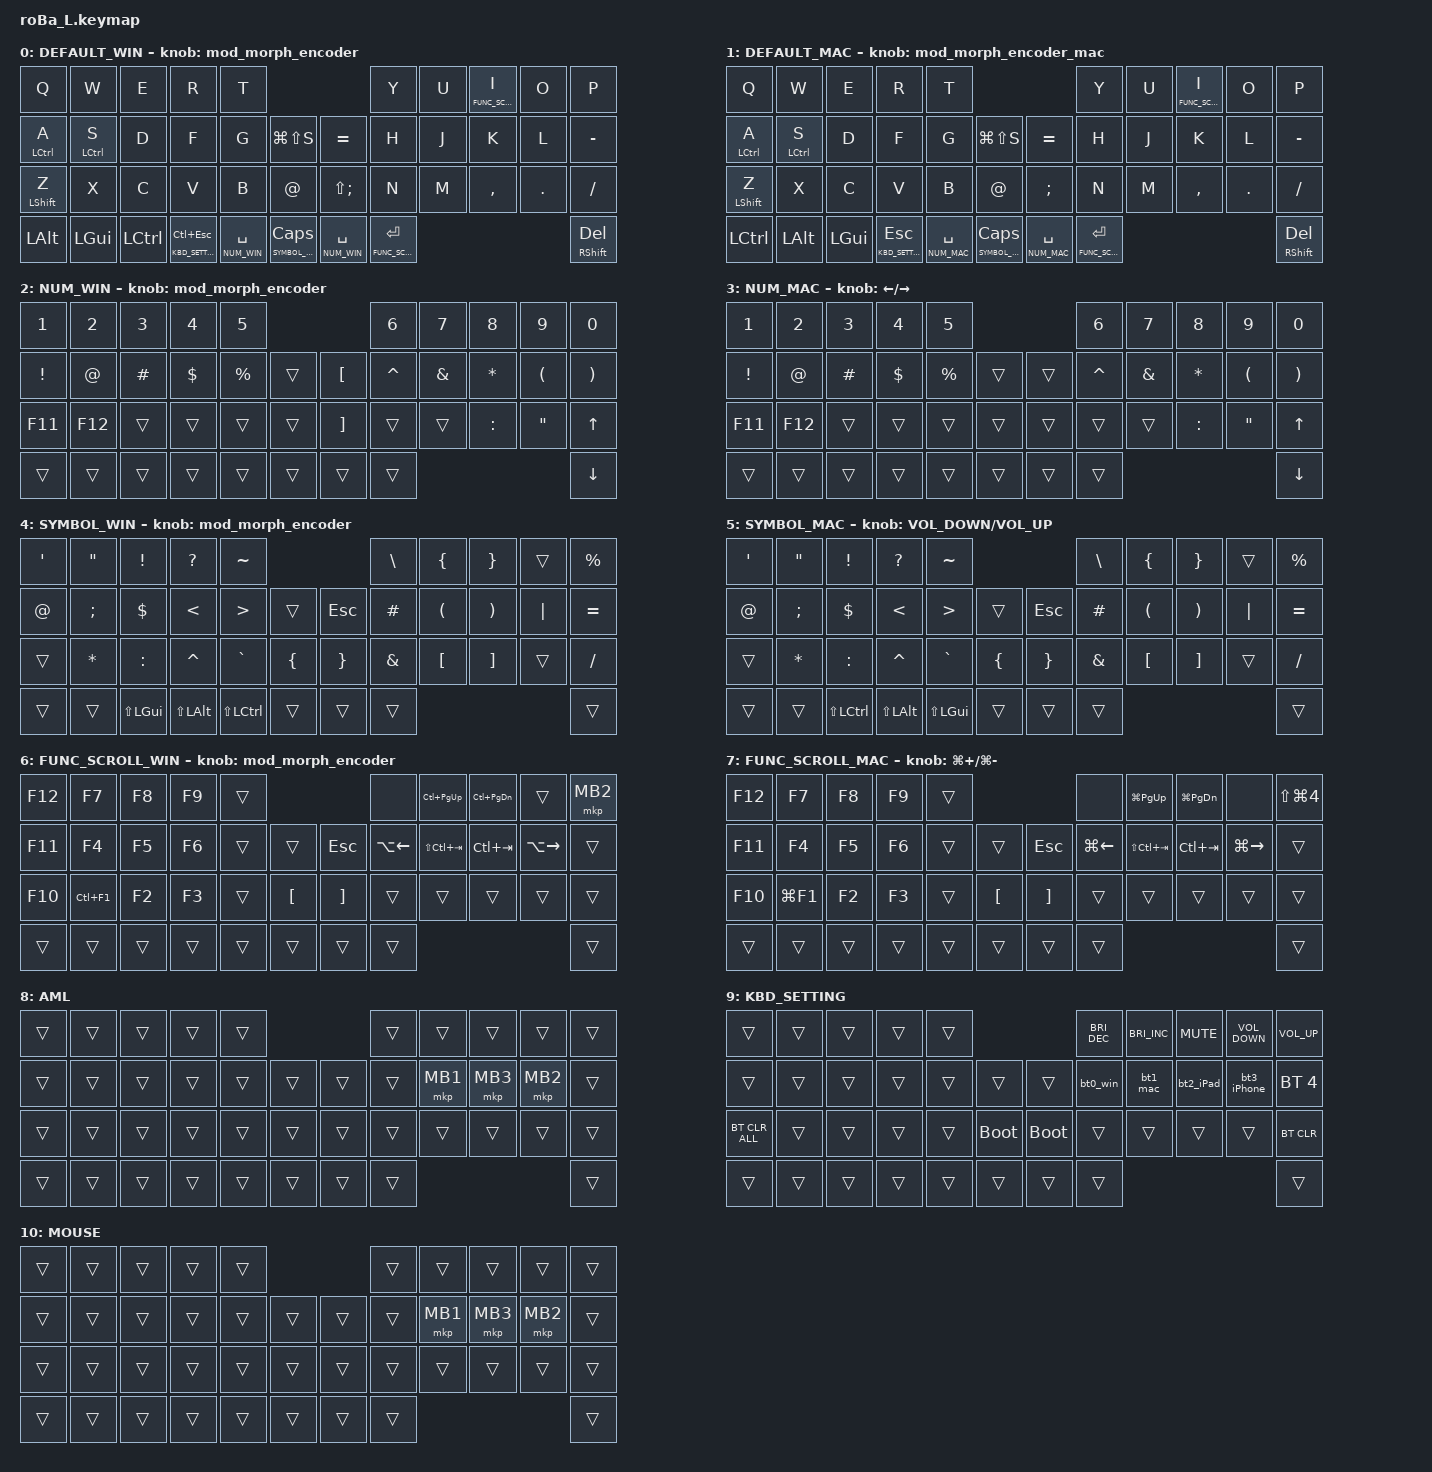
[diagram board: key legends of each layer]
// =============================================================================
// ZMK KEYMAP CONFIGURATION FOR roBa_L KEYBOARD
// =============================================================================
// This keymap provides a comprehensive layout with platform-specific
// adaptations for Windows and Mac, advanced encoder behaviors, and
// Bluetooth device management.
// =============================================================================

#include <behaviors.dtsi>
#include <dt-bindings/zmk/bt.h>
#include <dt-bindings/zmk/keys.h>
#include <dt-bindings/zmk/pointing.h>

// =============================================================================
// LAYER DEFINITIONS
// =============================================================================

#define DEFAULT_WIN     0  // Base layer for Windows
#define DEFAULT_MAC     1  // Base layer for Mac
#define NUM_WIN         2  // Numbers and symbols for Windows
#define NUM_MAC         3  // Numbers and symbols for Mac
#define SYMBOL_WIN      4  // Extended symbols for Windows
#define SYMBOL_MAC      5  // Extended symbols for Mac
#define FUNC_SCROLL_WIN 6  // Function keys and scrolling for Windows
#define FUNC_SCROLL_MAC 7  // Function keys and scrolling for Mac
#define AML             8  // Advanced Mouse Layer
#define KBD_SETTING     9  // Keyboard settings and Bluetooth
#define MOUSE          10  // Mouse functionality

// =============================================================================
// POINTING DEVICE CONFIGURATION
// =============================================================================
// Rotary encoder scroll value

#define ZMK_POINTING_DEFAULT_SCRL_VAL 80

// =============================================================================
// MOUSE MOVEMENT CONFIGURATION
// =============================================================================
// Controls mouse cursor movement behavior

&mmv {
    delay-ms = <20>;              // Initial delay before movement starts
    trigger-period-ms = <5>;       // Time between movement triggers
    time-to-max-speed-ms = <200>; // Time to reach maximum speed
};

// =============================================================================
// MOUSE SCROLL CONFIGURATION
// =============================================================================
// Controls mouse scroll wheel behavior

&msc {
    delay-ms = <3>;               // Initial delay before scroll starts
    trigger-period-ms = <3>;      // Time between scroll triggers
    time-to-max-speed-ms = <200>; // Time to reach maximum scroll speed
};

// =============================================================================
// GLOBAL BEHAVIOR CONFIGURATION
// =============================================================================
// Mod-tap behavior settings

&mt {
    flavor = "balanced";
    tapping-term-ms = <180>;
    quick-tap-ms = <180>;
    hold-while-undecided;
};

// Layer-tap behavior settings

&lt {
    flavor = "balanced";
    tapping-term-ms = <180>;
    quick-tap-ms = <180>;
    hold-while-undecided;
};

/ {
    // =============================================================================
    // KEY COMBINATIONS (COMBOS)
    // =============================================================================
    // These define simultaneous key presses that trigger different actions

    combos {
        compatible = "zmk,combos";

        // Navigation combos

        tab {
            bindings = <&kp TAB>;
            key-positions = <11 10>;
        };

        enter_combo {
            bindings = <&kp ENTER>;
            key-positions = <20 21>;
        };

        // Punctuation combos

        equals {
            bindings = <&kp EQUAL>;
            key-positions = <8 7>;
        };

        escape {
            bindings = <&kp ESCAPE>;
            key-positions = <1 0>;
        };

        // Letter combos

        shift_z {
            bindings = <&kp LS(Z)>;
            key-positions = <22 23>;
        };

        question_mark {
            bindings = <&kp RS(SLASH)>;
            key-positions = <33 32>;
        };

        bs {
            bindings = <&kp BSPC>;
            key-positions = <9 8>;
        };
    };

    // =============================================================================
    // MACROS
    // =============================================================================
    // Predefined sequences of actions

    macros {
        // Layer navigation macro

        to_layer_0: to_layer_0 {
            compatible = "zmk,behavior-macro-one-param";
            #binding-cells = <1>;
            bindings = <&to 0 &macro_param_1to1 &kp MACRO_PLACEHOLDER>;
            label = "TO_LAYER_0";
        };

        // Bluetooth device management macros

        bt0_win: bt0 {
            compatible = "zmk,behavior-macro";
            #binding-cells = <0>;
            bindings =
                <&tog_off 1>,
                <&macro_wait_time 200>,
                <&bt BT_SEL 0 &bt BT_DISC 1 &bt BT_DISC 2 &bt BT_DISC 3 &bt BT_DISC 4>;

            label = "BT0_WIN";
        };

        bt1_mac: bt1 {
            compatible = "zmk,behavior-macro";
            #binding-cells = <0>;
            bindings =
                <&tog_off 1>,
                <&macro_wait_time 200>,
                <&bt BT_SEL 1 &bt BT_DISC 0 &bt BT_DISC 2 &bt BT_DISC 3 &bt BT_DISC 4>,
                <&macro_wait_time 500>,
                <&tog_on 1>;
                    // Turn on Mac layer
            label = "BT1_MAC";
        };

        bt2_iPad: bt2_iPad {
            compatible = "zmk,behavior-macro";
            #binding-cells = <0>;
            bindings =
                <&tog_off 1>,
                <&macro_wait_time 200>,
                <&bt BT_SEL 2 &bt BT_DISC 0 &bt BT_DISC 1 &bt BT_DISC 3 &bt BT_DISC 4>,
                <&macro_wait_time 500>,
                <&tog_on 1>;
                    // Turn on Mac layer
            label = "BT2_IPAD";
        };

        bt3_iPhone: bt3_iPhone {
            compatible = "zmk,behavior-macro";
            #binding-cells = <0>;
            bindings =
                <&tog_off 1>,
                <&macro_wait_time 200>,
                <&bt BT_SEL 3 &bt BT_DISC 0 &bt BT_DISC 1 &bt BT_DISC 2 &bt BT_DISC 4>,
                <&macro_wait_time 500>,
                <&tog_on 1>;
                    // Turn on Mac layer
            label = "BT3_IPHONE";
        };

        // AML scroll layer macros (implementation by zaruSaru)
        // These macros allow entering scroll layer while AML is active

        to_scroll_layer_win: to_scroll_layer_win {
            compatible = "zmk,behavior-macro";
            #binding-cells = <0>;
            bindings =
                <&to FUNC_SCROLL_WIN>,
                <&macro_press>,
                <&mo FUNC_SCROLL_WIN>,
                <&macro_pause_for_release>,
                <&macro_release>,
                <&mo FUNC_SCROLL_WIN>;
           // Momentary layer activation
            label = "TO_SCROLL_LAYER_WIN";
        };

        to_scroll_layer_mac: to_scroll_layer_mac {
            compatible = "zmk,behavior-macro";
            #binding-cells = <0>;
            bindings =
                <&to FUNC_SCROLL_MAC>,
                <&macro_press>,
                <&mo FUNC_SCROLL_MAC>,
                <&macro_pause_for_release>,
                <&macro_release>,
                <&mo FUNC_SCROLL_MAC>;
           // Momentary layer activation
            label = "TO_SCROLL_LAYER_MAC";
        };

        // AML exit macros - only exit AML on tap, not hold

        exit_AML: exit_AML {
            compatible = "zmk,behavior-macro";
            wait-ms = <0>;
            tap-ms = <0>;
            #binding-cells = <0>;
            bindings = <&tog_off AML>;           // Turn off AML layer
            label = "exit_AML";
        };

        kp_exit_AML: kp_exit_AML {
            compatible = "zmk,behavior-macro-one-param";
            wait-ms = <0>;
            tap-ms = <0>;
            #binding-cells = <1>;
            bindings = <&macro_param_1to1 &kp MACRO_PLACEHOLDER &exit_AML>;
            label = "KP_exit_AML";
        };
    };

    // =============================================================================
    // CUSTOM BEHAVIORS
    // =============================================================================
    // Advanced key behaviors and combinations

    behaviors {
        // -------------------------------------------------------------------------
        // LAYER NAVIGATION BEHAVIORS
        // -------------------------------------------------------------------------

        lt_to_layer_0: lt_to_layer_0 {
            compatible = "zmk,behavior-hold-tap";
            label = "LAYER_TAP_TO_0";
            bindings = <&mo>, <&to_layer_0>;

            #binding-cells = <2>;
            tapping-term-ms = <200>;
        };

        // -------------------------------------------------------------------------
        // AML (ADVANCED MOUSE LAYER) BEHAVIORS
        // -------------------------------------------------------------------------
        // These behaviors handle AML exit on tap only

        mt_exit_AML_on_tap: mt_exit_AML_on_tap {
            compatible = "zmk,behavior-hold-tap";
            label = "MT_exit_AML_ON_TAP";
            bindings = <&kp>, <&kp_exit_AML>;

            #binding-cells = <2>;
            tapping-term-ms = <200>;
            flavor = "balanced";
            quick-tap-ms = <200>;
        };

        // -------------------------------------------------------------------------
        // ROTARY ENCODER BEHAVIORS
        // -------------------------------------------------------------------------
        // Basic encoder behaviors for scroll control

        encoder_msc_down_up: encoder_msc_down_up {
            compatible = "zmk,behavior-sensor-rotate";
            label = "ENCODER_MSC_DOWN_UP";
            #sensor-binding-cells = <0>;
            bindings = <&msc SCRL_DOWN>, <&msc SCRL_UP>;

            tap-ms = <20>;
        };

        encoder_msc_up_down: encoder_msc_up_down {
            compatible = "zmk,behavior-sensor-rotate";
            label = "ENCODER_MSC_UP_DOWN";
            #sensor-binding-cells = <0>;
            bindings = <&msc SCRL_UP>, <&msc SCRL_DOWN>;

            tap-ms = <20>;
        };

        encoder_msc_ctrl_up_down: encoder_msc_ctrl_up_down {
            compatible = "zmk,behavior-sensor-rotate";
            label = "ENCODER_MSC_CTRL_UP_DOWN";
            #sensor-binding-cells = <0>;
            bindings = <&sk LCTRL &msc SCRL_UP>, <&sk LCTRL &msc SCRL_DOWN>;
        };

        // -------------------------------------------------------------------------
        // LAYER TOGGLE BEHAVIORS
        // -------------------------------------------------------------------------
        // For connection-specific layer switching

        tog_on: toggle_layer_on_only {
            compatible = "zmk,behavior-toggle-layer";
            #binding-cells = <1>;
            display-name = "Toggle Layer On";
            toggle-mode = "on";
        };

        tog_off: toggle_layer_off_only {
            compatible = "zmk,behavior-toggle-layer";
            #binding-cells = <1>;
            display-name = "Toggle Layer Off";
            toggle-mode = "off";
        };

        // -------------------------------------------------------------------------
        // ADVANCED HOLD-TAP BEHAVIORS
        // -------------------------------------------------------------------------
        // Custom hold-tap behaviors with repeat functionality

        sands: space_and_shift {
            compatible = "zmk,behavior-hold-tap";
            label = "SPACE_AND_SHIFT";
            #binding-cells = <2>;
            flavor = "tap-unless-interrupted";
            tapping-term-ms = <220>;
            quick-tap-ms = <125>;
            global-quick-tap;
            bindings = <&kp>, <&kp>;
        };

        mtandkp: mt_and_kp {
            compatible = "zmk,behavior-hold-tap";
            label = "MT_AND_KP";
            #binding-cells = <2>;
            flavor = "tap-unless-interrupted";
            tapping-term-ms = <220>;
            quick-tap-ms = <125>;
            global-quick-tap;
            bindings = <&mt>, <&kp>;
        };

        ltandkp: lt_and_kp {
            compatible = "zmk,behavior-hold-tap";
            label = "LT_AND_KP";
            #binding-cells = <2>;
            flavor = "tap-unless-interrupted";
            tapping-term-ms = <220>;
            quick-tap-ms = <125>;
            global-quick-tap;
            bindings = <&lt>, <&kp>;
        };

        // -------------------------------------------------------------------------
        // SPECIALIZED LAYER BEHAVIORS
        // -------------------------------------------------------------------------
        // Fixed behaviors for specific layer combinations

        space_sl2: space_sl2 {
            compatible = "zmk,behavior-hold-tap";
            label = "SPACE_STICKY_LAYER_2";
            #binding-cells = <2>;
            tapping-term-ms = <200>;
            quick-tap-ms = <0>;
            flavor = "tap-preferred";
            bindings = <&sl>, <&kp>;
        };

        lt_to_layer_3: lt_to_layer_3 {
            compatible = "zmk,behavior-hold-tap";
            label = "LAYER_TAP_TO_3";
            bindings = <&mo>, <&to>;

            #binding-cells = <2>;
            tapping-term-ms = <200>;
        };

        lt_to_layer_4: lt_to_layer_4 {
            compatible = "zmk,behavior-hold-tap";
            label = "LAYER_TAP_TO_4";
            bindings = <&mo>, <&to>;

            #binding-cells = <2>;
            tapping-term-ms = <200>;
        };

        // -------------------------------------------------------------------------
        // MOD-MORPH ENCODER BEHAVIORS (WINDOWS)
        // -------------------------------------------------------------------------
        // Advanced encoder behaviors that change based on modifier keys
        // Default: Scroll up/down
        // Shift: Horizontal navigation (Win+Left/Right)
        // Alt: Virtual desktop navigation (Win+Up/Down)
        // Ctrl: Window management (Win+Left/Right)
        // Positive rotation (clockwise) behaviors

        shift_p: shift_p {
            compatible = "zmk,behavior-mod-morph";
            #binding-cells = <0>;
            bindings = <&none>, <&kp LG(LEFT)>;

            mods = <(MOD_LSFT|MOD_RSFT)>;
            keep-mods = <(MOD_LSFT)>;
        };

        shift_default_p: shift_default_p {
            compatible = "zmk,behavior-mod-morph";
            #binding-cells = <0>;
            bindings = <&msc SCRL_DOWN>, <&shift_p>;

            mods = <(MOD_LSFT|MOD_RSFT)>;
        };

        alt_p: alt_p {
            compatible = "zmk,behavior-mod-morph";
            #binding-cells = <0>;
            bindings = <&none>, <&kp LG(UP)>;

            mods = <(MOD_LALT|MOD_RALT)>;
        };

        win_p: win_p {
            compatible = "zmk,behavior-mod-morph";
            #binding-cells = <0>;
            bindings = <&none>, <&kp LG(LEFT)>;

            mods = <(MOD_LGUI|MOD_RGUI)>;
        };

        alt_win_p: alt_win_p {
            compatible = "zmk,behavior-mod-morph";
            #binding-cells = <0>;
            bindings = <&alt_p>, <&win_p>;

            mods = <(MOD_LGUI|MOD_RGUI)>;
        };

        mod_morph_encoder_p: mod_morph_encoder_p {
            compatible = "zmk,behavior-mod-morph";
            #binding-cells = <0>;
            bindings = <&shift_default_p>, <&alt_win_p>;

            mods = <(MOD_LALT|MOD_RALT|MOD_LGUI|MOD_RGUI)>;
        };

        // Negative rotation (counter-clockwise) behaviors

        shift_n: shift_n {
            compatible = "zmk,behavior-mod-morph";
            #binding-cells = <0>;
            bindings = <&none>, <&kp LG(RIGHT)>;

            mods = <(MOD_LSFT|MOD_RSFT)>;
            keep-mods = <(MOD_LSFT)>;
        };

        shift_default_n: shift_default_n {
            compatible = "zmk,behavior-mod-morph";
            #binding-cells = <0>;
            bindings = <&msc SCRL_UP>, <&shift_n>;

            mods = <(MOD_LSFT|MOD_RSFT)>;
        };

        alt_n: alt_n {
            compatible = "zmk,behavior-mod-morph";
            #binding-cells = <0>;
            bindings = <&none>, <&kp LG(DOWN)>;

            mods = <(MOD_LALT|MOD_RALT)>;
        };

        win_n: win_n {
            compatible = "zmk,behavior-mod-morph";
            #binding-cells = <0>;
            bindings = <&none>, <&kp LG(RIGHT)>;

            mods = <(MOD_LGUI|MOD_RGUI)>;
        };

        alt_win_n: alt_win_n {
            compatible = "zmk,behavior-mod-morph";
            #binding-cells = <0>;
            bindings = <&alt_n>, <&win_n>;

            mods = <(MOD_LGUI|MOD_RGUI)>;
        };

        mod_morph_encoder_n: mod_morph_encoder_n {
            compatible = "zmk,behavior-mod-morph";
            #binding-cells = <0>;
            bindings = <&shift_default_n>, <&alt_win_n>;

            mods = <(MOD_LALT|MOD_RALT|MOD_LGUI|MOD_RGUI)>;
        };

        // Combined encoder behavior for Windows

        mod_morph_encoder: mod_morph_encoder {
            compatible = "zmk,behavior-sensor-rotate";
            #sensor-binding-cells = <0>;
            bindings = <&mod_morph_encoder_n>, <&mod_morph_encoder_p>;

            tap-ms = <20>;
        };

        // -------------------------------------------------------------------------
        // MOD-MORPH ENCODER BEHAVIORS (MAC)
        // -------------------------------------------------------------------------
        // Mac-specific encoder behaviors
        // Default: Scroll up/down
        // Cmd: Zoom in/out (Cmd+Plus/Minus)
        // Shift: Horizontal navigation
        // Alt: Mission Control navigation
        // Ctrl: Window management
        // Positive rotation (clockwise) behaviors for Mac

        gui_p: gui_p {
            compatible = "zmk,behavior-mod-morph";
            #binding-cells = <0>;
            bindings = <&kp DELETE>, <&kp LG(PLUS)>;

            mods = <(MOD_LGUI|MOD_RGUI)>;
        };

        sftgui_default_p: sftgui_default_p {
            compatible = "zmk,behavior-mod-morph";
            #binding-cells = <0>;
            bindings = <&msc SCRL_DOWN>, <&gui_p>;

            mods = <(MOD_LGUI|MOD_RGUI|MOD_LSFT|MOD_RSFT)>;
        };

        ctrl_p: ctrl_p {
            compatible = "zmk,behavior-mod-morph";
            #binding-cells = <0>;
            bindings = <&none>, <&kp LA(LC(LG(RIGHT)))>;

            mods = <(MOD_LCTL|MOD_RCTL)>;
        };

        opt_p: opt_p {
            compatible = "zmk,behavior-mod-morph";
            #binding-cells = <0>;
            bindings = <&none>, <&kp LA(LC(LG(DOWN)))>;

            mods = <(MOD_LALT|MOD_RALT)>;
        };

        opt_ctrl_p: opt_ctrl_p {
            compatible = "zmk,behavior-mod-morph";
            #binding-cells = <0>;
            bindings = <&ctrl_p>, <&opt_p>;

            mods = <(MOD_LALT|MOD_RALT)>;
        };

        mod_morph_encoder_mac_p: mod_morph_encoder_mac_p {
            compatible = "zmk,behavior-mod-morph";
            #binding-cells = <0>;
            bindings = <&sftgui_default_p>, <&opt_ctrl_p>;

            mods = <(MOD_LALT|MOD_RALT|MOD_LCTL|MOD_RCTL)>;
        };

        // Negative rotation (counter-clockwise) behaviors for Mac

        gui_n: gui_n {
            compatible = "zmk,behavior-mod-morph";
            #binding-cells = <0>;
            bindings = <&kp BACKSPACE>, <&kp LG(MINUS)>;

            mods = <(MOD_LGUI|MOD_RGUI)>;
        };

        sftgui_default_n: sftgui_default_n {
            compatible = "zmk,behavior-mod-morph";
            #binding-cells = <0>;
            bindings = <&msc SCRL_UP>, <&gui_n>;

            mods = <(MOD_LGUI|MOD_RGUI|MOD_LSFT|MOD_RSFT)>;
        };

        ctrl_n: ctrl_n {
            compatible = "zmk,behavior-mod-morph";
            #binding-cells = <0>;
            bindings = <&none>, <&kp LA(LC(LG(LEFT)))>;

            mods = <(MOD_LCTL|MOD_RCTL)>;
        };

        opt_n: opt_n {
            compatible = "zmk,behavior-mod-morph";
            #binding-cells = <0>;
            bindings = <&none>, <&kp LA(LC(LG(UP)))>;

            mods = <(MOD_LALT|MOD_RALT)>;
        };

        opt_ctrl_n: opt_ctrl_n {
            compatible = "zmk,behavior-mod-morph";
            #binding-cells = <0>;
            bindings = <&ctrl_n>, <&opt_n>;

            mods = <(MOD_LALT|MOD_RALT)>;
        };

        mod_morph_encoder_mac_n: mod_morph_encoder_mac_n {
            compatible = "zmk,behavior-mod-morph";
            #binding-cells = <0>;
            bindings = <&sftgui_default_n>, <&opt_ctrl_n>;

            mods = <(MOD_LALT|MOD_RALT|MOD_LCTL|MOD_RCTL)>;
        };

        // Combined encoder behavior for Mac

        mod_morph_encoder_mac: mod_morph_encoder_mac {
            compatible = "zmk,behavior-sensor-rotate";
            #sensor-binding-cells = <0>;
            bindings = <&mod_morph_encoder_mac_p>, <&mod_morph_encoder_mac_n>;

            tap-ms = <20>;
        };

        // -------------------------------------------------------------------------
        // TAP DANCE BEHAVIORS
        // -------------------------------------------------------------------------
        // Advanced tap dance behaviors for complex key combinations

        td_LT6_Lang1_and_MO4: td_LT6_Lang1_and_MO4 {
            compatible = "zmk,behavior-tap-dance";
            label = "TD_LT6_LANG1_AND_MO4";
            #binding-cells = <0>;
            bindings = <&lt FUNC_SCROLL_WIN LANGUAGE_1>, <&mo SYMBOL_WIN>;

            tapping-term-ms = <240>;
        };

        // Modifier tap dance behaviors with AML exit functionality

        td_mt_left_ctrl: td_mt_left_ctrl {
            compatible = "zmk,behavior-tap-dance";
            label = "TD_MT_LEFT_CTRL";
            #binding-cells = <0>;
            bindings =
                <&mt_exit_AML_on_tap LCTRL X>,
                <&mt_exit_AML_on_tap LS(LCTRL) X>;
        };

        td_mt_right_ctrl: td_mt_right_ctrl {
            compatible = "zmk,behavior-tap-dance";
            label = "TD_MT_RIGHT_CTRL";
            #binding-cells = <0>;
            bindings =
                <&mt_exit_AML_on_tap LCTRL PERIOD>,
                <&mt_exit_AML_on_tap LS(LCTRL) PERIOD>;
        };

        td_mt_left_alt: td_mt_left_alt {
            compatible = "zmk,behavior-tap-dance";
            label = "TD_MT_LEFT_ALT";
            #binding-cells = <0>;
            bindings =
                <&mt_exit_AML_on_tap LEFT_ALT C>,
                <&mt_exit_AML_on_tap LS(LALT) C>;
        };

        td_mt_right_alt: td_mt_right_alt {
            compatible = "zmk,behavior-tap-dance";
            label = "TD_MT_RIGHT_ALT";
            #binding-cells = <0>;
            bindings =
                <&mt_exit_AML_on_tap LEFT_ALT COMMA>,
                <&mt_exit_AML_on_tap LS(LALT) COMMA>;
        };

        td_mt_left_win: td_mt_left_win {
            compatible = "zmk,behavior-tap-dance";
            label = "TD_MT_LEFT_WIN";
            #binding-cells = <0>;
            bindings =
                <&mt_exit_AML_on_tap LEFT_WIN V>,
                <&mt_exit_AML_on_tap LS(LEFT_WIN) V>;
        };

        td_mt_right_win: td_mt_right_win {
            compatible = "zmk,behavior-tap-dance";
            label = "TD_MT_RIGHT_WIN";
            #binding-cells = <0>;
            bindings =
                <&mt_exit_AML_on_tap LEFT_WIN M>,
                <&mt_exit_AML_on_tap LS(LEFT_WIN) M>;
        };
    };

    // =============================================================================
    // KEYMAP LAYERS
    // =============================================================================
    // This section defines all the keymap layers and their key bindings
    // Each layer serves a specific purpose and is optimized for different use cases

    keymap {
        compatible = "zmk,keymap";

        // -------------------------------------------------------------------------
        // DEFAULT_WIN - Base layer for Windows
        // -------------------------------------------------------------------------
        // Primary typing layer with Windows-specific shortcuts
        // Features: Mod-tap on home row, layer access via thumb keys

        DEFAULT_WIN {
            bindings = <
&kp Q             &kp W         &kp E      &kp R                       &kp T                                                                     &kp Y                      &kp U  &lt FUNC_SCROLL_WIN I  &kp O    &kp P
&mt LCTRL A       &mt LCTRL S   &kp D      &kp F                       &kp G              &kp LG(LS(S))                       &kp EQUAL          &kp H                      &kp J  &kp K                  &kp L    &kp MINUS
&mt LEFT_SHIFT Z  &kp X         &kp C      &kp V                       &kp B              &kp AT                              &kp LS(SEMI)       &kp N                      &kp M  &kp COMMA              &kp DOT  &kp SLASH
&kp LALT          &kp LEFT_GUI  &kp LCTRL  &lt KBD_SETTING LC(ESCAPE)  &lt NUM_WIN SPACE  &lt_to_layer_0 SYMBOL_WIN CAPS      &lt NUM_WIN SPACE  &lt FUNC_SCROLL_WIN ENTER                                         &mt RIGHT_SHIFT DELETE
            >;

            sensor-bindings = <&mod_morph_encoder>;
        };

        // -------------------------------------------------------------------------
        // DEFAULT_MAC - Base layer for Mac
        // -------------------------------------------------------------------------
        // Primary typing layer with Mac-specific shortcuts
        // Features: Cmd instead of Ctrl, Mac-specific key combinations

        DEFAULT_MAC {
            bindings = <
&kp Q             &kp W        &kp E         &kp R                   &kp T                                                          &kp Y                      &kp U  &lt FUNC_SCROLL_MAC I  &kp O    &kp P
&mt LCTRL A       &mt LCTRL S  &kp D         &kp F                   &kp G              &kp LG(LS(S))            &kp EQUAL          &kp H                      &kp J  &kp K                  &kp L    &kp MINUS
&mt LEFT_SHIFT Z  &kp X        &kp C         &kp V                   &kp B              &kp AT                   &kp SEMI           &kp N                      &kp M  &kp COMMA              &kp DOT  &kp SLASH
&kp LCTRL         &kp LALT     &kp LEFT_GUI  &lt KBD_SETTING ESCAPE  &lt NUM_MAC SPACE  &lt SYMBOL_MAC CAPS      &lt NUM_MAC SPACE  &lt FUNC_SCROLL_MAC ENTER                                         &mt RIGHT_SHIFT DELETE
            >;

            sensor-bindings = <&mod_morph_encoder_mac>;
        };

        // -------------------------------------------------------------------------
        // NUM_WIN - Numbers and symbols layer for Windows
        // -------------------------------------------------------------------------
        // Provides easy access to numbers, symbols, and Windows-specific shortcuts
        // Features: Numbers on top row, symbols on second row, navigation keys

        NUM_WIN {
            bindings = <
&kp NUMBER_1  &kp NUMBER_2  &kp NUMBER_3  &kp NUMBER_4  &kp N5                                    &kp NUMBER_6  &kp NUMBER_7  &kp N8     &kp NUMBER_9  &kp NUMBER_0
&kp EXCL      &kp AT        &kp POUND     &kp DLLR      &kp PRCNT  &trans      &kp LEFT_BRACKET   &kp CARET     &kp AMPS      &kp STAR   &kp LPAR      &kp RPAR
&kp F11       &kp F12       &trans        &trans        &trans     &trans      &kp RIGHT_BRACKET  &trans        &trans        &kp COLON  &kp DQT       &kp UP_ARROW
&trans        &trans        &trans        &trans        &trans     &trans      &trans             &trans                                               &kp DOWN_ARROW
            >;

            sensor-bindings = <&mod_morph_encoder>;
        };

        // -------------------------------------------------------------------------
        // NUM_MAC - Numbers and symbols layer for Mac
        // -------------------------------------------------------------------------
        // Mac-specific numbers and symbols with volume control
        // Features: Same layout as Windows but with Mac-specific encoder behavior

        NUM_MAC {
            bindings = <
&kp NUMBER_1  &kp NUMBER_2  &kp NUMBER_3  &kp NUMBER_4  &kp N5                         &kp NUMBER_6  &kp NUMBER_7  &kp N8     &kp NUMBER_9  &kp NUMBER_0
&kp EXCL      &kp AT        &kp POUND     &kp DLLR      &kp PRCNT  &trans      &trans  &kp CARET     &kp AMPS      &kp STAR   &kp LPAR      &kp RPAR
&kp F11       &kp F12       &trans        &trans        &trans     &trans      &trans  &trans        &trans        &kp COLON  &kp DQT       &kp UP_ARROW
&trans        &trans        &trans        &trans        &trans     &trans      &trans  &trans                                               &kp DOWN_ARROW
            >;

            sensor-bindings = <&inc_dec_kp LEFT RIGHT>;
        };

        // -------------------------------------------------------------------------
        // SYMBOL_WIN - Extended symbols layer for Windows
        // -------------------------------------------------------------------------
        // Comprehensive symbol access with Windows-specific modifier combinations
        // Features: All common symbols, Windows modifier shortcuts

        SYMBOL_WIN {
            bindings = <
&kp SQT      &kp DOUBLE_QUOTES  &kp EXCLAMATION   &kp QUESTION      &kp TILDE                                              &kp BACKSLASH  &kp LEFT_BRACE        &kp RIGHT_BRACE        &trans    &kp PERCENT
&kp AT_SIGN  &kp SEMICOLON      &kp DOLLAR        &kp LESS_THAN     &kp GREATER_THAN  &trans              &kp ESCAPE       &kp HASH       &kp LEFT_PARENTHESIS  &kp RIGHT_PARENTHESIS  &kp PIPE  &kp EQUAL
&trans       &kp ASTERISK       &kp COLON         &kp CARET         &kp GRAVE         &kp LEFT_BRACE      &kp RIGHT_BRACE  &kp AMPERSAND  &kp LEFT_BRACKET      &kp RIGHT_BRACKET      &trans    &kp SLASH
&trans       &trans             &kp LS(LEFT_GUI)  &kp LS(LEFT_ALT)  &kp LS(LCTRL)     &trans              &trans           &trans                                                                &trans
            >;

            sensor-bindings = <&mod_morph_encoder>;
        };

        // -------------------------------------------------------------------------
        // SYMBOL_MAC - Extended symbols layer for Mac
        // -------------------------------------------------------------------------
        // Mac-specific symbols with volume control via encoder
        // Features: Same symbols as Windows but with Mac-specific encoder behavior

        SYMBOL_MAC {
            bindings = <
&kp SQT      &kp DOUBLE_QUOTES  &kp EXCLAMATION  &kp QUESTION      &kp TILDE                                              &kp BACKSLASH  &kp LEFT_BRACE        &kp RIGHT_BRACE        &trans    &kp PERCENT
&kp AT_SIGN  &kp SEMICOLON      &kp DOLLAR       &kp LESS_THAN     &kp GREATER_THAN  &trans              &kp ESCAPE       &kp HASH       &kp LEFT_PARENTHESIS  &kp RIGHT_PARENTHESIS  &kp PIPE  &kp EQUAL
&trans       &kp ASTERISK       &kp COLON        &kp CARET         &kp GRAVE         &kp LEFT_BRACE      &kp RIGHT_BRACE  &kp AMPERSAND  &kp LEFT_BRACKET      &kp RIGHT_BRACKET      &trans    &kp SLASH
&trans       &trans             &kp LS(LCTRL)    &kp LS(LEFT_ALT)  &kp LS(LEFT_GUI)  &trans              &trans           &trans                                                                &trans
            >;

            sensor-bindings = <&inc_dec_kp C_VOLUME_DOWN C_VOLUME_UP>;
        };

        // -------------------------------------------------------------------------
        // FUNC_SCROLL_WIN - Function keys and scrolling layer for Windows
        // -------------------------------------------------------------------------
        // Function keys, Windows shortcuts, and virtual desktop navigation
        // Features: F1-F12, Windows-specific shortcuts, virtual desktop controls

        FUNC_SCROLL_WIN {
            bindings = <
&kp F12  &kp F7      &kp F8  &kp F9  &trans                                           &none         &kp LC(PAGE_UP)  &kp LC(PAGE_DOWN)  &trans         &mkp MB2
&kp F11  &kp F4      &kp F5  &kp F6  &trans  &trans                &kp ESCAPE         &kp LA(LEFT)  &kp LS(LC(TAB))  &kp LC(TAB)        &kp LA(RIGHT)  &trans
&kp F10  &kp LC(F1)  &kp F2  &kp F3  &trans  &kp LEFT_BRACKET      &kp RIGHT_BRACKET  &trans        &trans           &trans             &trans         &trans
&trans   &trans      &trans  &trans  &trans  &trans                &trans             &trans                                                           &trans
            >;

            sensor-bindings = <&mod_morph_encoder>;
        };

        // -------------------------------------------------------------------------
        // FUNC_SCROLL_MAC - Function keys and scrolling layer for Mac
        // -------------------------------------------------------------------------
        // Mac-specific function keys and Mission Control navigation
        // Features: F1-F12, Mac-specific shortcuts, Mission Control, zoom controls

        FUNC_SCROLL_MAC {
            bindings = <
&kp F12  &kp F7      &kp F8  &kp F9  &trans                                           &none         &kp LG(PAGE_UP)  &kp LG(PAGE_DOWN)  &none          &kp LS(LG(NUMBER_4))
&kp F11  &kp F4      &kp F5  &kp F6  &trans  &trans                &kp ESCAPE         &kp LG(LEFT)  &kp LS(LC(TAB))  &kp LC(TAB)        &kp LG(RIGHT)  &trans
&kp F10  &kp LG(F1)  &kp F2  &kp F3  &trans  &kp LEFT_BRACKET      &kp RIGHT_BRACKET  &trans        &trans           &trans             &trans         &trans
&trans   &trans      &trans  &trans  &trans  &trans                &trans             &trans                                                           &trans
            >;

            sensor-bindings = <&inc_dec_kp LG(PLUS) LG(MINUS)>;
        };

        // -------------------------------------------------------------------------
        // AML - Advanced Mouse Layer
        // -------------------------------------------------------------------------
        // Provides mouse functionality with left, right, and middle mouse buttons
        // Features: Mouse buttons (MB1, MB2, MB3) for precise cursor control

        AML {
            bindings = <
&trans  &trans  &trans  &trans  &trans                      &trans  &trans    &trans    &trans    &trans
&trans  &trans  &trans  &trans  &trans  &trans      &trans  &trans  &mkp MB1  &mkp MB3  &mkp MB2  &trans
&trans  &trans  &trans  &trans  &trans  &trans      &trans  &trans  &trans    &trans    &trans    &trans
&trans  &trans  &trans  &trans  &trans  &trans      &trans  &trans                                &trans
            >;
        };

        // -------------------------------------------------------------------------
        // KBD_SETTING - Keyboard settings and Bluetooth management
        // -------------------------------------------------------------------------
        // System controls, Bluetooth device switching, and keyboard settings
        // Features: Brightness, volume, Bluetooth device selection, bootloader access

        KBD_SETTING {
            bindings = <
&trans          &trans  &trans  &trans  &trans                                &kp C_BRIGHTNESS_DEC  &kp C_BRIGHTNESS_INC  &kp K_MUTE  &kp C_VOLUME_DOWN  &kp C_VOLUME_UP
&trans          &trans  &trans  &trans  &trans  &trans           &trans       &bt0_win              &bt1_mac              &bt2_iPad   &bt3_iPhone        &bt BT_SEL 4
&bt BT_CLR_ALL  &trans  &trans  &trans  &trans  &bootloader      &bootloader  &trans                &trans                &trans      &trans             &bt BT_CLR
&trans          &trans  &trans  &trans  &trans  &trans           &trans       &trans                                                                     &trans
            >;
        };

        // -------------------------------------------------------------------------
        // MOUSE - Additional mouse functionality
        // -------------------------------------------------------------------------
        // Alternative mouse layer with same functionality as AML
        // Features: Identical to AML layer for redundancy

        MOUSE {
            bindings = <
&trans  &trans  &trans  &trans  &trans                      &trans  &trans    &trans    &trans    &trans
&trans  &trans  &trans  &trans  &trans  &trans      &trans  &trans  &mkp MB1  &mkp MB3  &mkp MB2  &trans
&trans  &trans  &trans  &trans  &trans  &trans      &trans  &trans  &trans    &trans    &trans    &trans
&trans  &trans  &trans  &trans  &trans  &trans      &trans  &trans                                &trans
            >;
        };
    };
};
